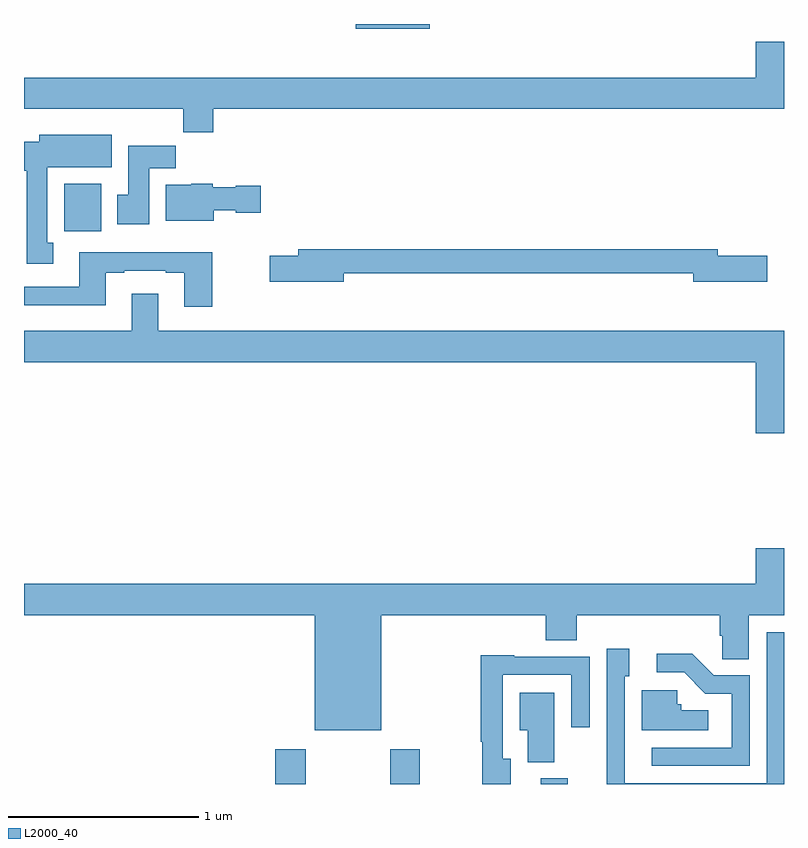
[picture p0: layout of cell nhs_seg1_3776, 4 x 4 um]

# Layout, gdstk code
import gdstk
lib = gdstk.Library(unit=1e-6, precision=1e-09)
def R(c, l, rs):  # rectangles x0, y0, x1, y1
    for r in rs: c.add(gdstk.rectangle(r[:2], r[2:], *l))
def P(c, l, *ps):  # polygons
    for p in ps: c.add(gdstk.Polygon(p, *l))
L2000_40 = (2000, 40)

nhs_seg1_3776 = lib.new_cell('nhs_seg1_3776')
R(nhs_seg1_3776, L2000_40, [(318.323,528.199,318.483,528.382), (318.928,528.199,319.083,528.382), (319.721,528.199,319.861,528.228), (317.211,531.108,317.407,531.358), (318.746,532.175,319.135,532.199)])
P(nhs_seg1_3776, L2000_40, [(317.996,531.752),(321,531.752),(321,532.105),(320.852,532.105),(320.852,531.916),(317,531.916),(317,531.752),(317.839,531.752),(317.839,531.628),(317.996,531.628)],
  [(317.155,531.049),(317.122,531.049),(317.122,531.446),(317.461,531.446),(317.461,531.616),(317.081,531.616),(317.081,531.58),(317,531.58),(317,531.426),(317.015,531.426),(317.015,530.937),(317.155,530.937)],
  [(317.659,531.44),(317.798,531.44),(317.798,531.558),(317.549,531.558),(317.549,531.3),(317.492,531.3),(317.492,531.144),(317.659,531.144)],
  [(317.998,531.218),(318.114,531.218),(318.114,531.206),(318.247,531.206),(318.247,531.348),(318.114,531.348),(318.114,531.34),(317.994,531.34),(317.994,531.358),(317.88,531.358),(317.88,531.352),(317.747,531.352),(317.747,531.164),(317.998,531.164)],
  [(318.682,530.886),(320.522,530.886),(320.522,530.843),(320.911,530.843),(320.911,530.978),(320.65,530.978),(320.65,531.014),(318.443,531.014),(318.443,530.978),(318.294,530.978),(318.294,530.843),(318.682,530.843)],
  [(317.991,530.998),(317.291,530.998),(317.291,530.817),(317,530.817),(317,530.72),(317.431,530.72),(317.431,530.889),(317.527,530.889),(317.527,530.901),(317.747,530.901),(317.747,530.889),(317.843,530.889),(317.843,530.712),(317.991,530.712)],
  [(321,530.584),(317.707,530.584),(317.707,530.779),(317.567,530.779),(317.567,530.584),(317,530.584),(317,530.42),(320.852,530.42),(320.852,530.046),(321,530.046)],
  [(318.88,529.088),(319.745,529.088),(319.745,528.955),(319.91,528.955),(319.91,529.088),(320.663,529.088),(320.663,528.979),(320.676,528.979),(320.676,528.856),(320.815,528.856),(320.815,529.088),(321,529.088),(321,529.441),(320.852,529.441),(320.852,529.252),(317,529.252),(317,529.088),(318.53,529.088),(318.53,528.482),(318.88,528.482)],
  [(321,528.999),(320.91,528.999),(320.91,528.204),(320.163,528.204),(320.163,528.765),(320.185,528.765),(320.185,528.91),(320.067,528.91),(320.067,528.41),(320.066,528.41),(320.066,528.199),(321,528.199)],
  [(320.82,528.771),(320.631,528.771),(320.518,528.884),(320.331,528.884),(320.331,528.786),(320.475,528.786),(320.586,528.675),(320.724,528.675),(320.724,528.39),(320.304,528.39),(320.304,528.294),(320.82,528.294)],
  [(319.561,528.333),(319.521,528.333),(319.521,528.774),(319.881,528.774),(319.881,528.498),(319.977,528.498),(319.977,528.87),(319.581,528.87),(319.581,528.877),(319.405,528.877),(319.405,528.421),(319.413,528.421),(319.413,528.199),(319.561,528.199)],
  [(320.602,528.586),(320.458,528.586),(320.458,528.618),(320.439,528.618),(320.439,528.693),(320.252,528.693),(320.252,528.482),(320.602,528.482)],
  [(319.792,528.679),(319.61,528.679),(319.61,528.482),(319.652,528.482),(319.652,528.313),(319.792,528.313)])

lib.write_gds('nhs_seg1_3776.gds')
